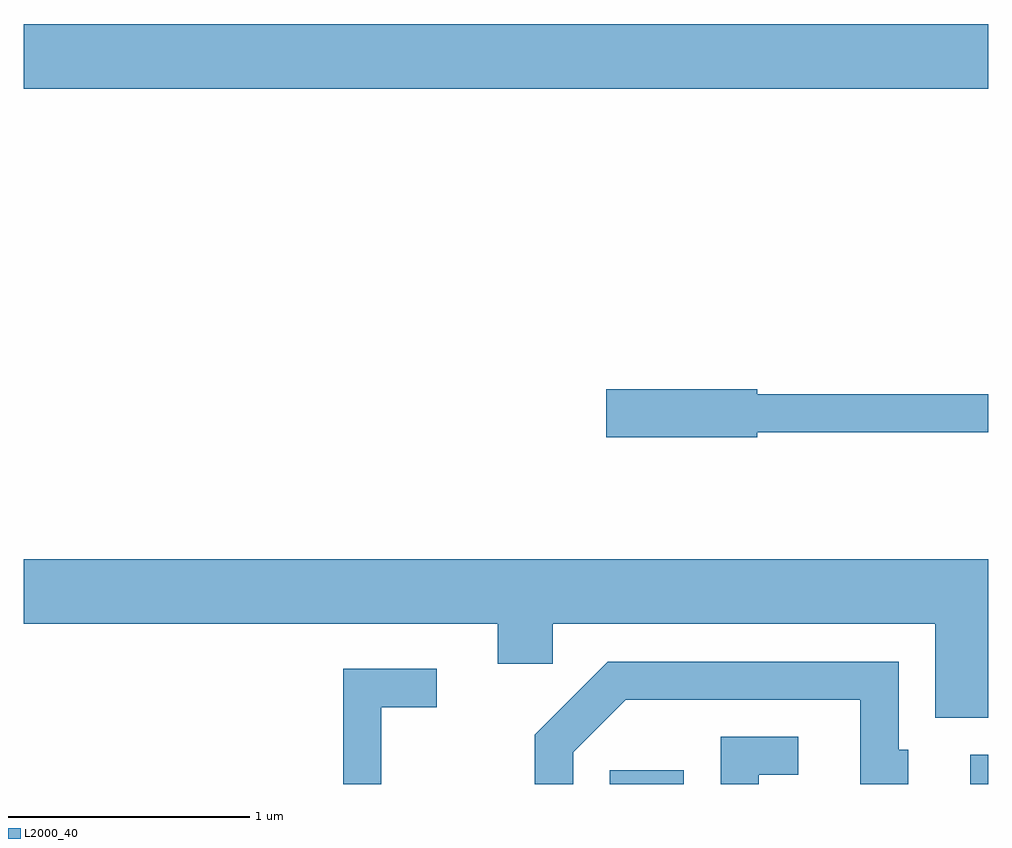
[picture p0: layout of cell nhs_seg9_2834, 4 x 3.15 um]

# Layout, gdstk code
import gdstk
lib = gdstk.Library(unit=1e-6, precision=1e-09)
def R(c, l, rs):  # rectangles x0, y0, x1, y1
    for r in rs: c.add(gdstk.rectangle(r[:2], r[2:], *l))
def P(c, l, *ps):  # polygons
    for p in ps: c.add(gdstk.Polygon(p, *l))
L2000_40 = (2000, 40)

nhs_seg9_2834 = lib.new_cell('nhs_seg9_2834')
R(nhs_seg9_2834, L2000_40, [(270.041,2044.432,270.349,2044.489), (271.536,2044.432,271.611,2044.554), (267.611,2047.316,271.611,2047.584)])
P(nhs_seg9_2834, L2000_40, [(270.654,2045.891),(271.611,2045.891),(271.611,2046.049),(270.654,2046.049),(270.654,2046.069),(270.026,2046.069),(270.026,2045.871),(270.654,2045.871)],
  [(271.611,2045.364),(267.611,2045.364),(267.611,2045.096),(269.576,2045.096),(269.576,2044.931),(269.804,2044.931),(269.804,2045.096),(271.391,2045.096),(271.391,2044.706),(271.611,2044.706)],
  [(269.889,2044.564),(270.107,2044.781),(271.081,2044.781),(271.081,2044.432),(271.279,2044.432),(271.279,2044.574),(271.239,2044.574),(271.239,2044.939),(270.034,2044.939),(269.731,2044.637),(269.731,2044.432),(269.889,2044.432)],
  [(269.094,2044.751),(269.323,2044.751),(269.323,2044.909),(268.936,2044.909),(268.936,2044.432),(269.094,2044.432)],
  [(270.659,2044.471),(270.823,2044.471),(270.823,2044.629),(270.501,2044.629),(270.501,2044.432),(270.659,2044.432)])

lib.write_gds('nhs_seg9_2834.gds')
